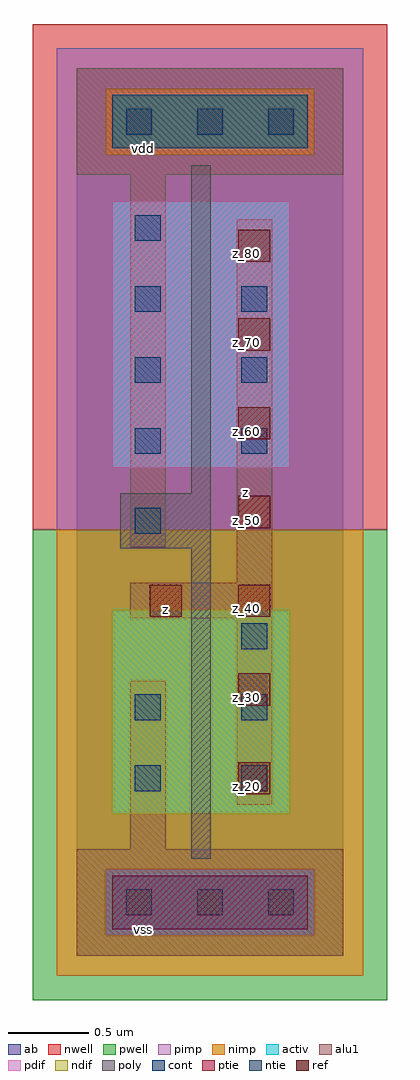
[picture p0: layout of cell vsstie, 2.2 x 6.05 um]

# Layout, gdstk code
import gdstk
lib = gdstk.Library(unit=1e-6, precision=2.5e-09)
def R(c, l, rs):  # rectangles x0, y0, x1, y1
    for r in rs: c.add(gdstk.rectangle(r[:2], r[2:], *l))
def A(c, l, x, y, w, h, nx, ny, dx, dy):  # array of equal rectangles
    R(c, l, [(x+i*dx, y+j*dy, x+i*dx+w, y+j*dy+h) for i in range(nx) for j in range(ny)])
ndif = (3, 0)
pdif = (4, 0)
ntie = (5, 0)
ptie = (6, 0)
ref = (24, 0)
cont = (25, 0)
pwell = (41, 0)
nwell = (42, 0)
activ = (43, 0)
pimp = (44, 0)
nimp = (45, 0)
poly = (46, 0)
alu1 = (49, 0)
ab = (63, 0)

vsstie = lib.new_cell('vsstie')
R(vsstie, ndif, [(0.22,0.88,1.32,2.145)])
R(vsstie, pdif, [(0.22,3.025,1.32,4.675)])
R(vsstie, ntie, [(0.22,5.005,1.43,5.335)])
R(vsstie, ptie, [(0.22,0.165,1.43,0.495)])
A(vsstie, ref, 1, 1, 0.2, 0.2, 1, 7, 0, 0.55)
R(vsstie, ref, [(0.45,2.1,0.65,2.3)])
A(vsstie, cont, 0.305, 0.25, 0.16, 0.16, 3, 2, 0.44, 4.84)
A(vsstie, cont, 1.02, 1.02, 0.16, 0.16, 1, 3, 0, 0.44)
A(vsstie, cont, 0.36, 3.11, 0.16, 0.16, 1, 4, 0, 0.44)
A(vsstie, cont, 1.02, 3.11, 0.16, 0.16, 1, 3, 0, 0.44)
R(vsstie, cont, [(0.36,1.02,0.52,1.18), (0.36,1.46,0.52,1.62), (0.36,2.615,0.52,2.775)])
R(vsstie, pwell, [(-0.275,-0.275,1.925,2.64)])
R(vsstie, nwell, [(-0.275,2.64,1.925,5.775)])
R(vsstie, activ, [(0.22,0.165,1.43,0.495), (0.22,0.88,1.32,2.145), (0.22,3.025,1.32,4.675), (0.22,5.005,1.43,5.335)])
R(vsstie, pimp, [(0.18,0.125,1.47,0.535), (-0.125,2.64,1.775,4.965), (-0.125,4.965,0.18,5.375), (1.47,4.965,1.775,5.375), (-0.125,5.375,1.775,5.625)])
R(vsstie, nimp, [(-0.125,-0.125,1.775,0.125), (-0.125,0.125,0.18,0.535), (1.47,0.125,1.775,0.535), (-0.125,0.535,1.775,2.64), (0.18,4.965,1.47,5.375)])
R(vsstie, poly, [(0.71,0.6,0.83,2.525), (0.27,2.525,0.83,2.865), (0.71,2.865,0.83,4.9)])
R(vsstie, alu1, [(0,0,1.65,0.66), (0.33,0.66,0.55,1.705), (0.99,0.935,1.21,2.09), (0.33,2.09,1.21,2.31), (0.99,2.31,1.21,4.565), (0.33,2.53,0.55,4.84), (0,4.84,1.65,5.5)])
R(vsstie, ab, [(0,0,1.65,5.5)])
vsstie.add(gdstk.Label('vss', (0.4125,0.165), layer=49, texttype=0))
vsstie.add(gdstk.Label('z', (0.55,2.145), layer=49, texttype=0))
vsstie.add(gdstk.Label('z', (1.045,2.8725), layer=49, texttype=0))
vsstie.add(gdstk.Label('vdd', (0.4125,5.005), layer=49, texttype=0))
vsstie.add(gdstk.Label('z_80', (1.05,4.35), layer=24, texttype=0))
vsstie.add(gdstk.Label('z_70', (1.05,3.8), layer=24, texttype=0))
vsstie.add(gdstk.Label('z_60', (1.05,3.25), layer=24, texttype=0))
vsstie.add(gdstk.Label('z_50', (1.05,2.7), layer=24, texttype=0))
vsstie.add(gdstk.Label('z_40', (1.05,2.15), layer=24, texttype=0))
vsstie.add(gdstk.Label('z_30', (1.05,1.6), layer=24, texttype=0))
vsstie.add(gdstk.Label('z_20', (1.05,1.05), layer=24, texttype=0))
vsstie.add(gdstk.Label('z_40', (0.5,2.15), layer=24, texttype=0))

lib.write_gds('vsstie.gds')
